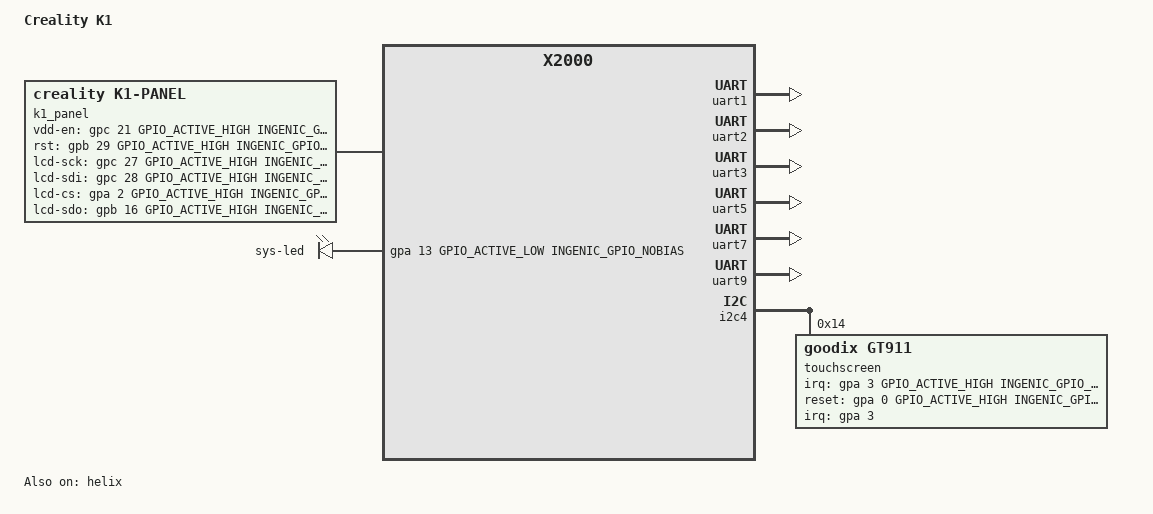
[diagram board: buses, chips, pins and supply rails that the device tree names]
// SPDX-License-Identifier: GPL-2.0
/*
 * Creality K1 mainboard (CR4CU220812S11/S12), Ingenic X2000.
 *
 * DRAFT, NOT BOOT-TESTED. Built on top of NebulaOS's board file for the
 * Ender-3 V3 KE (same SoC, same eMMC/Wi-Fi power/backlight design), with the
 * K1 differences taken from the K1's own stock firmware 1.3.3.46:
 *   - live device tree:   hardware/k1-stock.dts (from /sys/firmware/fdt)
 *   - module parameters:  hardware/stock-module-params/*.sh
 *   - kernel cmdline:     console=ttyS2 lcm_id=<n> init=/linuxrc root=/dev/mmcblk0p7|8
 * Every K1-specific value below names the stock file it comes from.
 */
#include "halley5_v30.dts"

/ {
	model = "Creality K1";
	compatible = "creality,k1", "ingenic,x2000";

	/* K1 has no host-side ADXL345 (the accelerometer sits on the nozzle MCU). */
	aliases {
		/delete-property/ spi2;
	};
	/delete-node/ spi_gpio_adxl345;

	/* KE panel is 480x272; K1 needs its own panel driver (see below). */
	/delete-node/ openke_panel;

	/* KE power key on PE31; the K1 has none. Keeps the touchscreen at
	 * /dev/input/event0, where GuppyScreen expects it. */
	/delete-node/ gpio_keys;

	/* BT power (cywdhd.sh): bt_reg_on=PE00, host_wake_bt=PE03, bt_wake_host=PE01. */
	bt_power {
		ingenic,reg-on-gpio = <&gpe 0 GPIO_ACTIVE_HIGH INGENIC_GPIO_NOBIAS>;
		ingenic,wake-gpio = <&gpe 3 GPIO_ACTIVE_HIGH INGENIC_GPIO_NOBIAS>;
	};

	/*
	 * Display: ST7701 RGB panel, 480x800, initialised over a 9-bit bit-banged SPI
	 * (lcd_st7701_9bit_spi_tjc_480_800.sh). The printer ships with several panels;
	 * the bootloader detects which one and passes lcm_id=<n> on the cmdline:
	 * this unit reports lcm_id=3 = "tjc". Other variants: tjc_lc, dc, pj, pj_lc,
	 * gc9503cv_ue. TODO: driver "creality,k1-panel" (port of
	 * displays/panel-st7701s-rgb666.c) with the init sequences extracted from
	 * the stock lcd_*.ko modules, selected by lcm_id.
	 */
	k1_panel: k1_panel {
		compatible = "creality,k1-panel";
		ingenic,vdd-en-gpio = <&gpc 21 GPIO_ACTIVE_HIGH INGENIC_GPIO_NOBIAS>;
		ingenic,rst-gpio = <&gpb 29 GPIO_ACTIVE_HIGH INGENIC_GPIO_NOBIAS>;
		ingenic,lcd-sck-gpio = <&gpc 27 GPIO_ACTIVE_HIGH INGENIC_GPIO_NOBIAS>;
		ingenic,lcd-sdi-gpio = <&gpc 28 GPIO_ACTIVE_HIGH INGENIC_GPIO_NOBIAS>;
		ingenic,lcd-cs-gpio = <&gpa 2 GPIO_ACTIVE_HIGH INGENIC_GPIO_NOBIAS>;
		ingenic,lcd-sdo-gpio = <&gpb 16 GPIO_ACTIVE_HIGH INGENIC_GPIO_NOBIAS>;
		status = "okay";
	};

	/* Status LED (stock DT /leds/sys_led): PA13, active low. */
	leds {
		compatible = "gpio-leds";
		sys_led {
			label = "sys-led";
			gpios = <&gpa 13 GPIO_ACTIVE_LOW INGENIC_GPIO_NOBIAS>;
			default-state = "on";
		};
	};

	/*
	 * SWD to the mainboard MCU (GD32F303), stock DT /swd "creality,swd":
	 * SWDIO=PA10, SWCLK=PA06, NRST=PA07 (active low). Kept as plain GPIOs so
	 * OpenOCD (linuxgpiod adapter) can flash open Klipper MCU firmware.
	 */
};

/* ---- UARTs (stock DT + printer.cfg) ----------------------------------- */

/* ttyS1: nozzle MCU (GD32F303CBT6). Same 2-pin group NebulaOS uses on the KE. */
&uart1 {
	status = "okay";
};

/* ttyS2: console (cmdline console=ttyS2). */
&uart2 {
	status = "okay";
	pinctrl-names = "default";
	pinctrl-0 = <&uart2_pd>;
};

/* ttyS3: Bluetooth half of the CYW43438 (stock uart3-pd group, gpd 0-3). */
&uart3 {
	status = "okay";
	pinctrl-names = "default";
	pinctrl-0 = <&uart3_pd>;
};

/* The KE console; disabled on stock K1. */
&uart4 {
	status = "disabled";
};

/* ttyS5: enabled on stock (uart5-pa). Purpose not yet identified. */
&uart5 {
	status = "okay";
	pinctrl-names = "default";
	pinctrl-0 = <&uart5_pa>;
};

/* ttyS7: mainboard MCU (GD32F303RET6). */
&uart7 {
	status = "okay";
	pinctrl-names = "default";
	pinctrl-0 = <&uart7_pa>;
};

/* ttyS9: leveling MCU (GD32E230F8P6, strain gauges). */
&uart9 {
	status = "okay";
	pinctrl-names = "default";
	pinctrl-0 = <&uart9_pb>;
};

/* ---- I2C --------------------------------------------------------------- */

/* Touch (gt9xx_touch.sh / tlsc6x.sh): i2c4, reset PA00, irq PA03, 480x800. */
&i2c4 {
	/delete-node/ ns2009@48;

	touchscreen@14 {
		compatible = "goodix,gt911";
		reg = <0x14>;
		interrupt-parent = <&gpa>;
		interrupts = <3 IRQ_TYPE_EDGE_FALLING>;
		irq-gpios = <&gpa 3 GPIO_ACTIVE_HIGH INGENIC_GPIO_NOBIAS>;
		reset-gpios = <&gpa 0 GPIO_ACTIVE_HIGH INGENIC_GPIO_NOBIAS>;
		touchscreen-size-x = <480>;
		touchscreen-size-y = <800>;
	};
	/* Second touch controller fitted to some units: tlsc6x at 0x2e (no mainline driver yet). */
};

/* BL24C16F EEPROM on i2c2 (PB22/23, soc_i2c.sh). Creality's Klipper reads it
 * through the Linux host MCU ([bl24c16f] i2c_mcu: rpi, i2c_bus: i2c.2), i.e. via
 * /dev/i2c-2, so no kernel driver may claim address 0x50. */
&i2c2 {
	/delete-node/ eeprom@50;
};

/* ---- Wi-Fi (soc_msc.sh / cywdhd.sh) ----------------------------------- */
/* Power rail PA01 is shared with BT and active low, as on the KE.
 * K1 differs in WL_REG_ON (PE02) and host wake (PD05). */
&msc1 {
	wlan-reg-on-gpios = <&gpe 2 GPIO_ACTIVE_HIGH INGENIC_GPIO_NOBIAS>;
	bcmdhd_wlan: bcmdhd_wlan {
		gpio_wl_reg_on = <&gpe 2 GPIO_ACTIVE_LOW INGENIC_GPIO_NOBIAS>;
		gpio_wl_host_wake = <&gpd 5 GPIO_ACTIVE_HIGH INGENIC_GPIO_NOBIAS>;
	};
};

/* ---- Differences found against the live stock K1 (2026-11-05) ---------- */
/* GPIO IO voltages: stock's CPM_EXCLK_DS (0x100000E0) reads 0x80000003, i.e.
 * GPA at 3.3 V (bit 30 clear, set by halley5) and the GPE/MSC domain at 1.8 V
 * (bit 31 set). Stock's devicetree states both; the KE file only states GPA,
 * so without this the kernel would leave GPE as the bootloader left it.
 * GPE carries WL_REG_ON, the BT pins and the 32 kHz clock (PE23). */
&pinctrl {
	ingenic,gpe_msc_voltage = <GPIO_VOLTAGE_1V8>;
};

/* PWM: the KE muxes PC01 (PWM1) and PC03 (its buzzer, PWM3). Stock K1 muxes
 * no PWM pins in its devicetree (backlight PWM0 on PC00 is claimed by the
 * backlight node), and on the K1 PC03 is claimed by mac0 and PC01 by nothing,
 * so neither pin is driven here. */
&pwm {
	/delete-property/ pinctrl-names;
	/delete-property/ pinctrl-0;
};

/* I2C3 is off on stock (soc_i2c.sh i2c3_is_enable=0). Its pins PD30/PD31
 * are the console UART2 on the K1. */
&i2c3 {
	status = "disabled";
};

/* Helix video codec (H.264/JPEG encoder, JPEG decoder at 0x13200000) for the
 * timelapse. It needs the shared DMA pool that halley5_v30.dts declares but
 * leaves disabled: 32 MiB at 0x0e000000 on a 256 MiB board (reg-256M, picked
 * by drivers/of/fdt.c from the DDR size). Stock reserves 36 MiB at 0x5000000
 * for the same purpose (hardware/k1-stock.dts, reserved_mem@0x5000000). */
&reserved_memory {
	status = "okay";
};

&helix {
	status = "okay";
	memory-region = <&reserved_memory>;
};

/* Felix (H.264 decoder) has no use on the printer; its driver is not built. */
&felix {
	status = "disabled";
};
